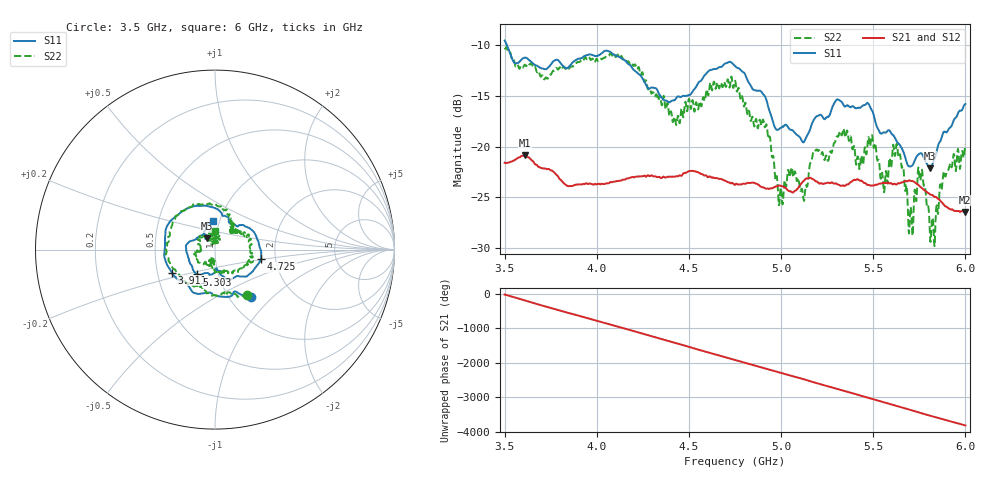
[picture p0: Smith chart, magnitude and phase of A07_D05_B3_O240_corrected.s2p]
! Created with skrf 1.9.0 (http://scikit-rf.org).
# Hz S RI R 50.0
!freq ReS11 ImS11 ReS21 ImS21 ReS12 ImS12 ReS22 ImS22
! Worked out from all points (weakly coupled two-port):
!   1601 points, 3.5 GHz to 6 GHz, reference 50 ohm
!   highest |S21| = -20.86 dB at 3.609 GHz (marker M1); lowest = -26.4 dB at 5.995 GHz (marker M2)
!   lowest |S11| = -22.1 dB at 5.808 GHz (marker M3), VSWR 1.17, Z = 45.2 + j5.72 ohm
!   |S11| at or under -10 dB: 3.513 GHz to end of sweep
!   |S22| runs from -29.8 to -10.2 dB; largest |S21 - S12| = 0.001
!   S11 on the Smith chart (normalised r, x): 3.5 GHz: 1.26, -0.75; 3.911 GHz: 0.60, -0.17; 4.725 GHz: 1.67, -0.19; 5.303 GHz: 0.79, -0.22; 6 GHz: 0.93, +0.31
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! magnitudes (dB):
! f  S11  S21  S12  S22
! 3.5 GHz  -9.5  -21.6  -21.6  -10.3
! 3.609 GHz  -11.2  -20.9  -20.9  -11.9
! 3.911 GHz  -11.3  -23.7  -23.7  -11.6
! 3.917 GHz  -11.3  -23.7  -23.7  -11.5
! 4.123 GHz  -11.2  -23.4  -23.4  -11.3
! 4.334 GHz  -14.7  -23.0  -22.9  -15.4
! 4.439 GHz  -15.0  -22.9  -22.9  -17.0
! 4.725 GHz  -11.6  -23.6  -23.5  -13.7
! 4.75 GHz  -12.0  -23.8  -23.7  -13.5
! 4.914 GHz  -15.1  -24.1  -24.1  -18.1
! 4.997 GHz  -18.2  -23.9  -23.8  -24.1
! 5.048 GHz  -18.3  -24.4  -24.4  -22.9
! 5.13 GHz  -19.4  -23.2  -23.3  -24.5
! 5.167 GHz  -17.7  -23.2  -23.1  -21.2
! 5.303 GHz  -15.3  -23.7  -23.7  -19.0
! 5.584 GHz  -18.4  -23.6  -23.6  -21.9
! 5.636 GHz  -19.7  -23.6  -23.6  -20.9
! 5.703 GHz  -21.9  -23.4  -23.4  -25.9
! 5.756 GHz  -20.7  -24.0  -23.9  -23.3
! 5.808 GHz  -22.1  -24.7  -24.7  -28.7
! 5.995 GHz  -15.9  -26.4  -26.4  -20.5
! 6 GHz  -15.8  -26.4  -26.4  -19.8
